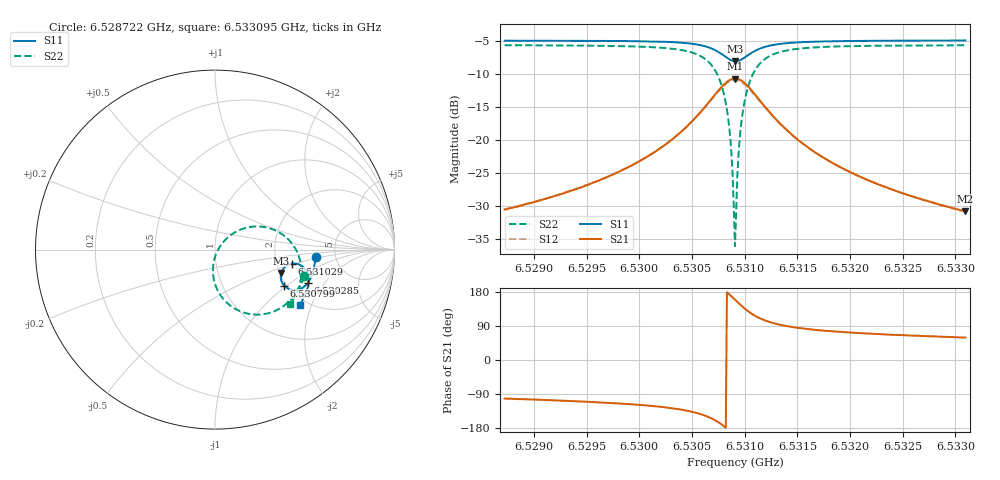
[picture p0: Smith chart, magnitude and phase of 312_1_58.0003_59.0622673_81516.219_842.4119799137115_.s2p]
#  HZ  S  RI  R  50.00
! Rohde & Schwarz Vector Network Analyzer
! Rohde-Schwarz,ZNB20-2Port,1311601062101988,3.16
! Created: UTC 3/21/2024, 1:04:14 AM
! freq[Hz]  re:S11  im:S11  re:S21  im:S21  re:S12  im:S12  re:S22  im:S22
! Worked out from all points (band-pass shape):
!   401 points, 6.528722 GHz to 6.533095 GHz, reference 50 ohm
!   highest |S21| = -10.75 dB at 6.530909 GHz (marker M1); lowest = -30.9 dB at 6.533095 GHz (marker M2)
!   |S21| within 3 dB of the highest: 6.53069 GHz to 6.531128 GHz (437.8 kHz wide, 0.0067 % of centre)
!   lowest |S11| = -8.1 dB at 6.530909 GHz (marker M3), VSWR 2.29, Z = 102 - j31.5 ohm
!   |S11| at or under -10 dB: nowhere
!   |S22| runs from -36.1 to -5.7 dB; largest |S21 - S12| = 0.011
!   S11 on the Smith chart (normalised r, x): 6.528722 GHz: 3.50, -0.44; 6.530285 GHz: 2.60, -1.39; 6.530799 GHz: 1.94, -0.96; 6.531029 GHz: 2.43, -0.47; 6.533095 GHz: 1.84, -1.65
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6.5287222e9  0.5602 -0.0432  -0.00593 -0.0289  -0.00656 -0.0288  0.4971 -0.1485
6.5294546e9  0.5511 -0.1035  -0.0146 -0.0412  -0.0157 -0.0409  0.4686 -0.215
6.5301871e9  0.5245 -0.1745  -0.0462 -0.0709  -0.0482 -0.0698  0.3918 -0.3074
6.5302854e9  0.5167 -0.186  -0.0571 -0.0779  -0.0593 -0.0763  0.3687 -0.3237
6.5306353e9  0.4537 -0.2255  -0.1538 -0.0962  -0.1562 -0.0901  0.1852 -0.3574
6.5307337e9  0.4145 -0.2211  -0.2144 -0.0726  -0.2142 -0.0639  0.0818 -0.3093
6.5307992e9  0.3854 -0.2011  -0.2577 -0.0284  -0.2537 -0.0188  0.0148 -0.2274
6.5308539e9  0.3687 -0.1698  -0.2793 0.0323  -0.2716 0.0399  -0.0115 -0.1234
6.5308758e9  0.3665 -0.1546  -0.2803 0.0608  -0.2712 0.067  -0.00845 -0.0764
6.5308867e9  0.3665 -0.1466  -0.2786 0.0751  -0.2691 0.0807  -0.0033 -0.0528
6.5308976e9  0.3675 -0.1386  -0.2753 0.0895  -0.2657 0.0942  0.00391 -0.0296
6.5309086e9  0.3693 -0.1308  -0.2709 0.1036  -0.2611 0.1074  0.0138 -0.00724
6.5309304e9  0.3753 -0.1161  -0.2577 0.1302  -0.2479 0.132  0.0396 0.0341
6.5309414e9  0.3795 -0.1092  -0.2494 0.1421  -0.2397 0.1431  0.0553 0.0523
6.5309632e9  0.3898 -0.0975  -0.2299 0.1629  -0.2209 0.1625  0.0907 0.0833
6.530996e9  0.408 -0.0849  -0.1962 0.1852  -0.1888 0.1832  0.1497 0.1145
6.5310288e9  0.4273 -0.0787  -0.1617 0.1968  -0.1559 0.1941  0.2091 0.128
6.5311053e9  0.466 -0.082  -0.0936 0.1948  -0.0904 0.1923  0.3233 0.1126
6.5312147e9  0.4988 -0.1046  -0.0361 0.165  -0.0345 0.1637  0.4168 0.0484
6.531641e9  0.5209 -0.1803  0.0139 0.0818  0.0148 0.0813  0.4814 -0.1284
6.5323735e9  0.5012 -0.2528  0.0165 0.0392  0.0172 0.0389  0.4541 -0.2435
6.533095e9  0.4736 -0.306  0.0147 0.0245  0.0151 0.0243  0.419 -0.3054
